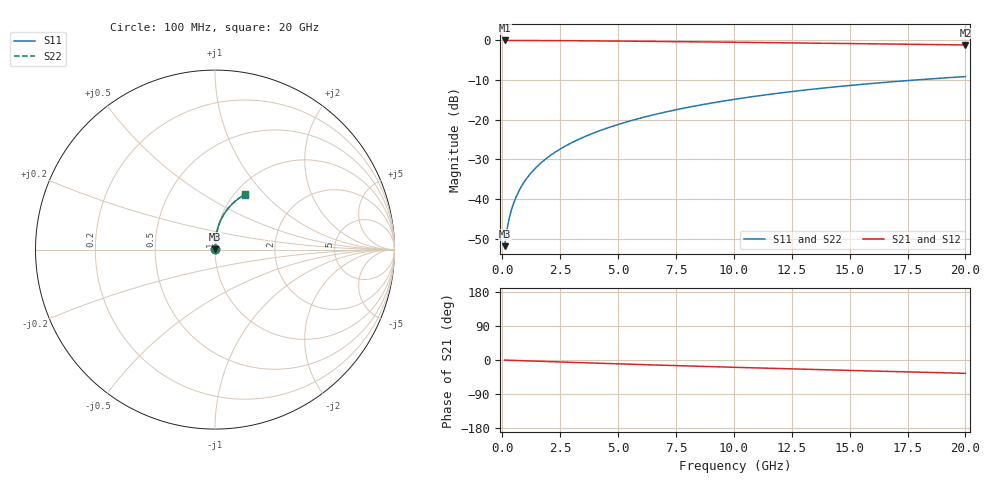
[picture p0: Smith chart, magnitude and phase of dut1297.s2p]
! Touchstone file exported from HFSS 2024.1.0
!  File:  C:/UserFiles/LocalFiles/RDL_TSV_Batchsim/temp_RDL_top_1297_1780243140.aedt
!  Generated:  12:01:15 AM Jun  1, 2026
!  Design:  RDL_top
!  Project:  temp_RDL_top_1297_1780243140
!  Setup:  Setup1
!  Solution:  Sweep
! Variables:
!  dtsv = 10.80580581um
!  hbump = 3um
!  htsv = 92.69um
!  ldown = 100um
!  lrdl = 464.59um
!  p = 40
!  p1 = 57.4um
!  rhole = 1um
!  t = 450um
!  tdown = 3.915915916um
!  trdl = 4.71um
!  wdown = 15.38538539um
!  wrdl = 21.68um
# GHz S MA R 50.000000
! Terminal data exported
! Port[1] = Box2_T1
! Port[2] = Box2_T2
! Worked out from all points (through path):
!   200 points, 100 MHz to 20 GHz, reference 50 ohm
!   highest |S21| = -0.02 dB at 100 MHz (marker M1); lowest = -1.2 dB at 20 GHz (marker M2)
!   group delay of S21, straight-line fit = 4.85 ps
!   lowest |S11| = -51.9 dB at 100 MHz (marker M3), VSWR 1.01, Z = 50.2 + j0.182 ohm
!   |S11| at or under -10 dB: start of sweep to 17.82 GHz
!   |S22| runs from -51.9 to -9.1 dB; largest |S21 - S12| = 3.8e-15
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0.1  0.002533 45.8  0.9982 -0.2  0.9982 -0.2  0.002533 45.8
! Gamma 0 0 0 0
! Port Impedance 50 0 50 0
0.2  0.004045 62.9  0.9981 -0.4  0.9981 -0.4  0.004045 62.9
0.3  0.00569 70.0  0.998 -0.6  0.998 -0.6  0.005689 70.0
0.4  0.007349 73.8  0.9978 -0.9  0.9978 -0.9  0.007348 73.8
0.5  0.009003 76.2  0.9977 -1.1  0.9977 -1.1  0.009002 76.2
0.7  0.0123 79.2  0.9974 -1.5  0.9974 -1.5  0.0123 79.2
0.8  0.01395 80.2  0.9973 -1.7  0.9973 -1.7  0.01394 80.2
1  0.01725 81.7  0.997 -2.1  0.997 -2.1  0.01725 81.7
1.2  0.02057 82.7  0.9966 -2.5  0.9966 -2.5  0.02057 82.8
1.4  0.02391 83.5  0.9962 -2.9  0.9962 -2.9  0.02391 83.5
1.7  0.02895 84.2  0.9955 -3.6  0.9955 -3.6  0.02895 84.3
2  0.03403 84.7  0.9946 -4.2  0.9946 -4.2  0.03403 84.7
2.7  0.04602 85.3  0.9922 -5.6  0.9922 -5.6  0.04602 85.3
3.5  0.05998 85.3  0.9887 -7.2  0.9887 -7.2  0.05999 85.3
4.2  0.07241 85.0  0.9852 -8.6  0.9852 -8.6  0.07242 85.0
5  0.08686 84.4  0.9808 -10.2  0.9808 -10.2  0.08688 84.5
6.8  0.1201 82.5  0.9697 -13.6  0.9697 -13.6  0.1201 82.6
8.4  0.1501 80.3  0.9592 -16.4  0.9592 -16.4  0.1502 80.4
10.1  0.182 77.7  0.9476 -19.4  0.9476 -19.4  0.1821 77.7
13.4  0.2422 72.2  0.9243 -24.9  0.9243 -24.9  0.2423 72.3
16.7  0.2983 66.7  0.9002 -30.2  0.9002 -30.2  0.2985 66.7
20  0.3494 61.4  0.8758 -35.2  0.8758 -35.2  0.3496 61.4
